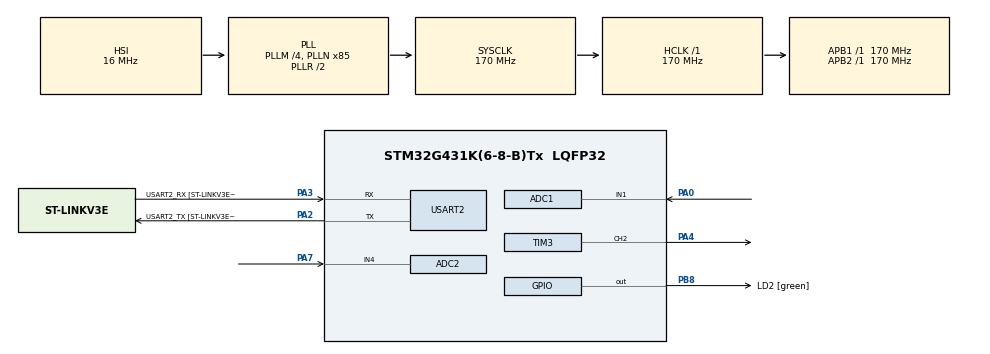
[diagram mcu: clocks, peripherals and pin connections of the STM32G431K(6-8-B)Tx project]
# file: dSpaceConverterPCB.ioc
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ADC1.Channel-0\#ChannelRegularConversion=ADC_CHANNEL_1
ADC1.ClockPrescaler=ADC_CLOCK_ASYNC_DIV2
ADC1.ContinuousConvMode=ENABLE
ADC1.DMAContinuousRequests=DISABLE
ADC1.EOCSelection=ADC_EOC_SEQ_CONV
ADC1.NbrOfConversionFlag=1
ADC1.OffsetNumber-0\#ChannelRegularConversion=ADC_OFFSET_NONE
ADC1.Overrun=ADC_OVR_DATA_OVERWRITTEN
ADC1.Rank-0\#ChannelRegularConversion=1
ADC1.SamplingTime-0\#ChannelRegularConversion=ADC_SAMPLETIME_2CYCLES_5
ADC1.master=1
ADC2.Channel-0\#ChannelRegularConversion=ADC_CHANNEL_4
ADC2.ClockPrescaler=ADC_CLOCK_ASYNC_DIV2
ADC2.ContinuousConvMode=ENABLE
ADC2.DMAContinuousRequests=DISABLE
ADC2.EOCSelection=ADC_EOC_SEQ_CONV
ADC2.NbrOfConversionFlag=1
ADC2.OffsetNumber-0\#ChannelRegularConversion=ADC_OFFSET_NONE
ADC2.Overrun=ADC_OVR_DATA_OVERWRITTEN
ADC2.Rank-0\#ChannelRegularConversion=1
ADC2.SamplingTime-0\#ChannelRegularConversion=ADC_SAMPLETIME_640CYCLES_5
Dma.ADC1.0.Direction=DMA_PERIPH_TO_MEMORY
Dma.ADC1.0.EventEnable=DISABLE
Dma.ADC1.0.Instance=DMA1_Channel1
Dma.ADC1.0.MemDataAlignment=DMA_MDATAALIGN_HALFWORD
Dma.ADC1.0.MemInc=DMA_MINC_ENABLE
Dma.ADC1.0.Mode=DMA_CIRCULAR
Dma.ADC1.0.PeriphDataAlignment=DMA_PDATAALIGN_HALFWORD
Dma.ADC1.0.PeriphInc=DMA_PINC_DISABLE
Dma.ADC1.0.Polarity=HAL_DMAMUX_REQ_GEN_RISING
Dma.ADC1.0.Priority=DMA_PRIORITY_LOW
Dma.ADC1.0.RequestNumber=1
Dma.ADC1.0.SignalID=NONE
Dma.ADC1.0.SyncEnable=DISABLE
Dma.ADC1.0.SyncPolarity=HAL_DMAMUX_SYNC_NO_EVENT
Dma.ADC1.0.SyncRequestNumber=1
Dma.ADC1.0.SyncSignalID=NONE
Dma.ADC2.1.Direction=DMA_PERIPH_TO_MEMORY
Dma.ADC2.1.EventEnable=DISABLE
Dma.ADC2.1.Instance=DMA1_Channel2
Dma.ADC2.1.MemDataAlignment=DMA_MDATAALIGN_HALFWORD
Dma.ADC2.1.MemInc=DMA_MINC_ENABLE
Dma.ADC2.1.Mode=DMA_CIRCULAR
Dma.ADC2.1.PeriphDataAlignment=DMA_PDATAALIGN_HALFWORD
Dma.ADC2.1.PeriphInc=DMA_PINC_DISABLE
Dma.ADC2.1.Polarity=HAL_DMAMUX_REQ_GEN_RISING
Dma.ADC2.1.Priority=DMA_PRIORITY_LOW
Dma.ADC2.1.RequestNumber=1
Dma.ADC2.1.SignalID=NONE
Dma.ADC2.1.SyncEnable=DISABLE
Dma.ADC2.1.SyncPolarity=HAL_DMAMUX_SYNC_NO_EVENT
Dma.ADC2.1.SyncRequestNumber=1
Dma.ADC2.1.SyncSignalID=NONE
Dma.Request0=ADC1
Dma.Request1=ADC2
Dma.Request2=USART2_TX
Dma.USART2_TX.2.Direction=DMA_MEMORY_TO_PERIPH
Dma.USART2_TX.2.EventEnable=DISABLE
Dma.USART2_TX.2.Instance=DMA1_Channel3
Dma.USART2_TX.2.MemDataAlignment=DMA_MDATAALIGN_BYTE
Dma.USART2_TX.2.MemInc=DMA_MINC_ENABLE
Dma.USART2_TX.2.Mode=DMA_NORMAL
Dma.USART2_TX.2.PeriphDataAlignment=DMA_PDATAALIGN_BYTE
Dma.USART2_TX.2.PeriphInc=DMA_PINC_DISABLE
Dma.USART2_TX.2.Polarity=HAL_DMAMUX_REQ_GEN_RISING
Dma.USART2_TX.2.Priority=DMA_PRIORITY_LOW
Dma.USART2_TX.2.RequestNumber=1
Dma.USART2_TX.2.SignalID=NONE
Dma.USART2_TX.2.SyncEnable=DISABLE
Dma.USART2_TX.2.SyncPolarity=HAL_DMAMUX_SYNC_NO_EVENT
Dma.USART2_TX.2.SyncRequestNumber=1
Dma.USART2_TX.2.SyncSignalID=NONE
Mcu.Family=STM32G4
Mcu.Name=STM32G431K(6-8-B)Tx
Mcu.Package=LQFP32
NVIC.DMA1_Channel1_IRQn=true\:0\:0\:false\:false\:true\:false\:true\:true
NVIC.DMA1_Channel2_IRQn=true\:0\:0\:false\:false\:true\:false\:true\:true
NVIC.DMA1_Channel3_IRQn=true\:0\:0\:false\:false\:true\:false\:true\:true
NVIC.PriorityGroup=NVIC_PRIORITYGROUP_4
NVIC.USART2_IRQn=true\:0\:0\:false\:false\:true\:true\:true\:true
PA0.Mode=IN1-Single-Ended
PA0.Signal=ADC1_IN1
PA13.GPIO_Label=T_SWDIO
PA13.Mode=Serial_Wire
PA13.Signal=SYS_JTMS-SWDIO
PA14.GPIO_Label=T_SWCLK
PA14.Mode=Serial_Wire
PA14.Signal=SYS_JTCK-SWCLK
PA2.GPIO_Label=USART2_TX [ST-LINKV3E_VCP_RX]
PA2.Mode=Asynchronous
PA2.Signal=USART2_TX
PA3.GPIO_Label=USART2_RX [ST-LINKV3E_VCP_TX]
PA3.Mode=Asynchronous
PA3.Signal=USART2_RX
PA4.Signal=S_TIM3_CH2
PA7.Mode=IN4-Single-Ended
PA7.Signal=ADC2_IN4
PB3.GPIO_Label=T_SWO
PB3.Signal=SYS_JTDO-SWO
PB8-BOOT0.GPIO_Label=LD2 [green]
PB8-BOOT0.Signal=GPIO_Output
ProjectManager.HeapSize=0x200
ProjectManager.StackSize=0x400
ProjectManager.TargetToolchain=STM32CubeIDE
RCC.ADC12CLockSelection=RCC_ADC12CLKSOURCE_PLL
RCC.ADC12Freq_Value=20000000
RCC.AHBFreq_Value=170000000
RCC.APB1Freq_Value=170000000
RCC.APB1TimFreq_Value=170000000
RCC.APB2Freq_Value=170000000
RCC.APB2TimFreq_Value=170000000
RCC.CortexFreq_Value=170000000
RCC.EXTERNAL_CLOCK_VALUE=12288000
RCC.HCLKFreq_Value=170000000
RCC.HSE_VALUE=8000000
RCC.HSI48_VALUE=48000000
RCC.HSI_VALUE=16000000
RCC.LSE_VALUE=32768
RCC.PLLM=RCC_PLLM_DIV4
RCC.PLLN=85
RCC.PLLP=RCC_PLLP_DIV17
RCC.SYSCLKFreq_VALUE=170000000
RCC.SYSCLKSource=RCC_SYSCLKSOURCE_PLLCLK
RCC.USBFreq_Value=170000000
RCC.VCOOutputFreq_Value=340000000
SH.S_TIM3_CH2.0=TIM3_CH2,PWM Generation2 CH2
TIM3.AutoReloadPreload=TIM_AUTORELOAD_PRELOAD_ENABLE
TIM3.Channel-PWM\ Generation2\ CH2=TIM_CHANNEL_2
TIM3.PeriodNoDither=1000
TIM3.Prescaler=84
TIM3.PulseNoDither_2=0
USART2.VirtualMode-Asynchronous=VM_ASYNC
USART2.WordLength=WORDLENGTH_8B
VP_SYS_VS_DBSignals.Mode=DisableDeadBatterySignals
VP_TIM3_VS_ClockSourceINT.Mode=Internal
board=NUCLEO-G431KB

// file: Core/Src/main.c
/* USER CODE BEGIN Header */
/**
  ******************************************************************************
  * @file           : main.c
  * @brief          : Main program body
  ******************************************************************************
  * @attention
  *
  * Copyright (c) 2024 STMicroelectronics.
  * All rights reserved.
  *
  * This software is licensed under terms that can be found in the LICENSE file
  * in the root directory of this software component.
  * If no LICENSE file comes with this software, it is provided AS-IS.
  *
  ******************************************************************************
  */
/* USER CODE END Header */
#include "main.h"
/* USER CODE BEGIN Includes */
#include "stdio.h"
#include "stdarg.h"
#include "stdint.h"
#include "string.h"
/* USER CODE END Includes */

/* USER CODE BEGIN PD */
#define PWM_COEF_UPPER_LIMIT (1020) // That is from
#define PWM_COEF_LOWER_LIMIT (980)
#define PWM_MAXIMUM_LIMIT (900.0f)
#define PWM_MAXIMUM_LIMIT_UNCONNECTED (300.0f)

#define LIMIT_CURRENT_MA (1600)
#define NOMINAL_VOLTAGE_MV (12000)
#define LOAD_RESISTANCE_OHM (4.8f)
#define MAX_POSSIBLE_CURRENT_MA (uint16_t)(NOMINAL_VOLTAGE_MV/LOAD_RESISTANCE_OHM)///(5000)
/* USER CODE END PD */

ADC_HandleTypeDef hadc1;
ADC_HandleTypeDef hadc2;
DMA_HandleTypeDef hdma_adc1;
DMA_HandleTypeDef hdma_adc2;

TIM_HandleTypeDef htim3;

UART_HandleTypeDef huart2;
DMA_HandleTypeDef hdma_usart2_tx;

/* USER CODE BEGIN PV */
uint8_t console_buffer[100] = {0};
uint8_t print_buf[100] = {0};
uint8_t console_msg_lenght = 0;

float pwm_f = 0;
uint8_t input_use = 1;
uint8_t output_on = 1;
uint8_t debug_on = 0;
uint16_t adc1_buffer[8000] = {0};
uint16_t adc2_buffer[20] = {0};
uint32_t output_current_acc;
uint32_t input_voltage_acc;
int16_t output_current_mA = 0;
int16_t input_voltage_mV = 0;
int16_t required_current_mA = 0;
uint16_t pwm = 0;
int16_t input_voltage_raw = 0;
int16_t output_current_raw = 0;
float offset = 40;
/* USER CODE END PV */

void SystemClock_Config(void);
static void MX_GPIO_Init(void);
static void MX_DMA_Init(void);
static void MX_USART2_UART_Init(void);
static void MX_ADC1_Init(void);
static void MX_ADC2_Init(void);
static void MX_TIM3_Init(void);
/* USER CODE BEGIN PFP */
void Console_Parser(uint8_t * console_buffer, uint8_t console_msg_lenght);
void print(char* fmt,...);
/* USER CODE END PFP */

int main(void)
{

  /* MCU Configuration--------------------------------------------------------*/

  /* Reset of all peripherals, Initializes the Flash interface and the Systick. */
  HAL_Init();

  /* Configure the system clock */
  SystemClock_Config();

  /* Initialize all configured peripherals */
  MX_GPIO_Init();
  MX_DMA_Init();
  MX_USART2_UART_Init();
  MX_ADC1_Init();
  MX_ADC2_Init();
  MX_TIM3_Init();
  /* USER CODE BEGIN 2 */
  HAL_TIM_PWM_Start(&htim3, TIM_CHANNEL_2);

  //Calibrate ADCs
  HAL_ADCEx_Calibration_Start(&hadc1, ADC_SINGLE_ENDED);
  HAL_ADCEx_Calibration_Start(&hadc2, ADC_SINGLE_ENDED);

  //Start ADC1 in DMA mode
  HAL_ADC_Start_DMA(&hadc1, (uint32_t*)&adc1_buffer[0], 8000);
  HAL_ADC_Start_DMA(&hadc2, (uint32_t*)&adc2_buffer[0], 20);
  HAL_UART_Receive_IT(&huart2, &console_buffer[console_msg_lenght], 1);
  print("dSpace converter 1.0\r\n");
  /* USER CODE END 2 */

  /* Infinite loop */
  /* USER CODE BEGIN WHILE */
  while (1)
  {
	  if (debug_on)
	  {
		  print("Input: %d mV, Output: %s, Req.cur: %d mA, Meas.cur.: %d mA, Set by: %s\r\n", input_voltage_mV, (output_on)? "on" : "off", required_current_mA, output_current_mA, (input_use)? "input req." : "user req.");
	  }
    /* USER CODE END WHILE */

    /* USER CODE BEGIN 3 */
	  HAL_Delay(1000);
  }
  /* USER CODE END 3 */
}

void SystemClock_Config(void)
{
  RCC_OscInitTypeDef RCC_OscInitStruct = {0};
  RCC_ClkInitTypeDef RCC_ClkInitStruct = {0};

  /** Configure the main internal regulator output voltage
  */
  HAL_PWREx_ControlVoltageScaling(PWR_REGULATOR_VOLTAGE_SCALE1_BOOST);

  /** Initializes the RCC Oscillators according to the specified parameters
  * in the RCC_OscInitTypeDef structure.
  */
  RCC_OscInitStruct.OscillatorType = RCC_OSCILLATORTYPE_HSI;
  RCC_OscInitStruct.HSIState = RCC_HSI_ON;
  RCC_OscInitStruct.HSICalibrationValue = RCC_HSICALIBRATION_DEFAULT;
  RCC_OscInitStruct.PLL.PLLState = RCC_PLL_ON;
  RCC_OscInitStruct.PLL.PLLSource = RCC_PLLSOURCE_HSI;
  RCC_OscInitStruct.PLL.PLLM = RCC_PLLM_DIV4;
  RCC_OscInitStruct.PLL.PLLN = 85;
  RCC_OscInitStruct.PLL.PLLP = RCC_PLLP_DIV17;
  RCC_OscInitStruct.PLL.PLLQ = RCC_PLLQ_DIV2;
  RCC_OscInitStruct.PLL.PLLR = RCC_PLLR_DIV2;
  if (HAL_RCC_OscConfig(&RCC_OscInitStruct) != HAL_OK)
  {
    Error_Handler();
  }

  /** Initializes the CPU, AHB and APB buses clocks
  */
  RCC_ClkInitStruct.ClockType = RCC_CLOCKTYPE_HCLK|RCC_CLOCKTYPE_SYSCLK
                              |RCC_CLOCKTYPE_PCLK1|RCC_CLOCKTYPE_PCLK2;
  RCC_ClkInitStruct.SYSCLKSource = RCC_SYSCLKSOURCE_PLLCLK;
  RCC_ClkInitStruct.AHBCLKDivider = RCC_SYSCLK_DIV1;
  RCC_ClkInitStruct.APB1CLKDivider = RCC_HCLK_DIV1;
  RCC_ClkInitStruct.APB2CLKDivider = RCC_HCLK_DIV1;

  if (HAL_RCC_ClockConfig(&RCC_ClkInitStruct, FLASH_LATENCY_4) != HAL_OK)
  {
    Error_Handler();
  }
}

static void MX_ADC1_Init(void)
{

  ADC_MultiModeTypeDef multimode = {0};
  ADC_ChannelConfTypeDef sConfig = {0};

  /** Common config
  */
  hadc1.Instance = ADC1;
  hadc1.Init.ClockPrescaler = ADC_CLOCK_ASYNC_DIV2;
  hadc1.Init.Resolution = ADC_RESOLUTION_12B;
  hadc1.Init.DataAlign = ADC_DATAALIGN_RIGHT;
  hadc1.Init.GainCompensation = 0;
  hadc1.Init.ScanConvMode = ADC_SCAN_DISABLE;
  hadc1.Init.EOCSelection = ADC_EOC_SEQ_CONV;
  hadc1.Init.LowPowerAutoWait = DISABLE;
  hadc1.Init.ContinuousConvMode = ENABLE;
  hadc1.Init.NbrOfConversion = 1;
  hadc1.Init.DiscontinuousConvMode = DISABLE;
  hadc1.Init.ExternalTrigConv = ADC_SOFTWARE_START;
  hadc1.Init.ExternalTrigConvEdge = ADC_EXTERNALTRIGCONVEDGE_NONE;
  hadc1.Init.DMAContinuousRequests = DISABLE;
  hadc1.Init.Overrun = ADC_OVR_DATA_OVERWRITTEN;
  hadc1.Init.OversamplingMode = DISABLE;
  if (HAL_ADC_Init(&hadc1) != HAL_OK)
  {
    Error_Handler();
  }

  /** Configure the ADC multi-mode
  */
  multimode.Mode = ADC_MODE_INDEPENDENT;
  if (HAL_ADCEx_MultiModeConfigChannel(&hadc1, &multimode) != HAL_OK)
  {
    Error_Handler();
  }

  /** Configure Regular Channel
  */
  sConfig.Channel = ADC_CHANNEL_1;
  sConfig.Rank = ADC_REGULAR_RANK_1;
  sConfig.SamplingTime = ADC_SAMPLETIME_2CYCLES_5;
  sConfig.SingleDiff = ADC_SINGLE_ENDED;
  sConfig.OffsetNumber = ADC_OFFSET_NONE;
  sConfig.Offset = 0;
  if (HAL_ADC_ConfigChannel(&hadc1, &sConfig) != HAL_OK)
  {
    Error_Handler();
  }

}

static void MX_ADC2_Init(void)
{

  ADC_ChannelConfTypeDef sConfig = {0};

  /** Common config
  */
  hadc2.Instance = ADC2;
  hadc2.Init.ClockPrescaler = ADC_CLOCK_ASYNC_DIV2;
  hadc2.Init.Resolution = ADC_RESOLUTION_12B;
  hadc2.Init.DataAlign = ADC_DATAALIGN_RIGHT;
  hadc2.Init.GainCompensation = 0;
  hadc2.Init.ScanConvMode = ADC_SCAN_DISABLE;
  hadc2.Init.EOCSelection = ADC_EOC_SEQ_CONV;
  hadc2.Init.LowPowerAutoWait = DISABLE;
  hadc2.Init.ContinuousConvMode = ENABLE;
  hadc2.Init.NbrOfConversion = 1;
  hadc2.Init.DiscontinuousConvMode = DISABLE;
  hadc2.Init.ExternalTrigConv = ADC_SOFTWARE_START;
  hadc2.Init.ExternalTrigConvEdge = ADC_EXTERNALTRIGCONVEDGE_NONE;
  hadc2.Init.DMAContinuousRequests = DISABLE;
  hadc2.Init.Overrun = ADC_OVR_DATA_OVERWRITTEN;
  hadc2.Init.OversamplingMode = DISABLE;
  if (HAL_ADC_Init(&hadc2) != HAL_OK)
  {
    Error_Handler();
  }

  /** Configure Regular Channel
  */
  sConfig.Channel = ADC_CHANNEL_4;
  sConfig.Rank = ADC_REGULAR_RANK_1;
  sConfig.SamplingTime = ADC_SAMPLETIME_640CYCLES_5;
  sConfig.SingleDiff = ADC_SINGLE_ENDED;
  sConfig.OffsetNumber = ADC_OFFSET_NONE;
  sConfig.Offset = 0;
  if (HAL_ADC_ConfigChannel(&hadc2, &sConfig) != HAL_OK)
  {
    Error_Handler();
  }

}

static void MX_TIM3_Init(void)
{

  TIM_ClockConfigTypeDef sClockSourceConfig = {0};
  TIM_MasterConfigTypeDef sMasterConfig = {0};
  TIM_OC_InitTypeDef sConfigOC = {0};

  htim3.Instance = TIM3;
  htim3.Init.Prescaler = 84;
  htim3.Init.CounterMode = TIM_COUNTERMODE_UP;
  htim3.Init.Period = 1000;
  htim3.Init.ClockDivision = TIM_CLOCKDIVISION_DIV1;
  htim3.Init.AutoReloadPreload = TIM_AUTORELOAD_PRELOAD_ENABLE;
  if (HAL_TIM_Base_Init(&htim3) != HAL_OK)
  {
    Error_Handler();
  }
  sClockSourceConfig.ClockSource = TIM_CLOCKSOURCE_INTERNAL;
  if (HAL_TIM_ConfigClockSource(&htim3, &sClockSourceConfig) != HAL_OK)
  {
    Error_Handler();
  }
  if (HAL_TIM_PWM_Init(&htim3) != HAL_OK)
  {
    Error_Handler();
  }
  sMasterConfig.MasterOutputTrigger = TIM_TRGO_RESET;
  sMasterConfig.MasterSlaveMode = TIM_MASTERSLAVEMODE_DISABLE;
  if (HAL_TIMEx_MasterConfigSynchronization(&htim3, &sMasterConfig) != HAL_OK)
  {
    Error_Handler();
  }
  sConfigOC.OCMode = TIM_OCMODE_PWM1;
  sConfigOC.Pulse = 0;
  sConfigOC.OCPolarity = TIM_OCPOLARITY_HIGH;
  sConfigOC.OCFastMode = TIM_OCFAST_DISABLE;
  if (HAL_TIM_PWM_ConfigChannel(&htim3, &sConfigOC, TIM_CHANNEL_2) != HAL_OK)
  {
    Error_Handler();
  }
  HAL_TIM_MspPostInit(&htim3);

}

static void MX_USART2_UART_Init(void)
{

  huart2.Instance = USART2;
  huart2.Init.BaudRate = 115200;
  huart2.Init.WordLength = UART_WORDLENGTH_8B;
  huart2.Init.StopBits = UART_STOPBITS_1;
  huart2.Init.Parity = UART_PARITY_NONE;
  huart2.Init.Mode = UART_MODE_TX_RX;
  huart2.Init.HwFlowCtl = UART_HWCONTROL_NONE;
  huart2.Init.OverSampling = UART_OVERSAMPLING_16;
  huart2.Init.OneBitSampling = UART_ONE_BIT_SAMPLE_DISABLE;
  huart2.Init.ClockPrescaler = UART_PRESCALER_DIV1;
  huart2.AdvancedInit.AdvFeatureInit = UART_ADVFEATURE_NO_INIT;
  if (HAL_UART_Init(&huart2) != HAL_OK)
  {
    Error_Handler();
  }
  if (HAL_UARTEx_SetTxFifoThreshold(&huart2, UART_TXFIFO_THRESHOLD_1_8) != HAL_OK)
  {
    Error_Handler();
  }
  if (HAL_UARTEx_SetRxFifoThreshold(&huart2, UART_RXFIFO_THRESHOLD_1_8) != HAL_OK)
  {
    Error_Handler();
  }
  if (HAL_UARTEx_DisableFifoMode(&huart2) != HAL_OK)
  {
    Error_Handler();
  }

}

static void MX_DMA_Init(void)
{

  /* DMA controller clock enable */
  __HAL_RCC_DMAMUX1_CLK_ENABLE();
  __HAL_RCC_DMA1_CLK_ENABLE();

  /* DMA interrupt init */
  /* DMA1_Channel1_IRQn interrupt configuration */
  HAL_NVIC_SetPriority(DMA1_Channel1_IRQn, 0, 0);
  HAL_NVIC_EnableIRQ(DMA1_Channel1_IRQn);
  /* DMA1_Channel2_IRQn interrupt configuration */
  HAL_NVIC_SetPriority(DMA1_Channel2_IRQn, 0, 0);
  HAL_NVIC_EnableIRQ(DMA1_Channel2_IRQn);
  /* DMA1_Channel3_IRQn interrupt configuration */
  HAL_NVIC_SetPriority(DMA1_Channel3_IRQn, 0, 0);
  HAL_NVIC_EnableIRQ(DMA1_Channel3_IRQn);

}

static void MX_GPIO_Init(void)
{
  GPIO_InitTypeDef GPIO_InitStruct = {0};

  /* GPIO Ports Clock Enable */
  __HAL_RCC_GPIOA_CLK_ENABLE();
  __HAL_RCC_GPIOB_CLK_ENABLE();

  /*Configure GPIO pin Output Level */
  HAL_GPIO_WritePin(LD2_GPIO_Port, LD2_Pin, GPIO_PIN_RESET);

  /*Configure GPIO pin : LD2_Pin */
  GPIO_InitStruct.Pin = LD2_Pin;
  GPIO_InitStruct.Mode = GPIO_MODE_OUTPUT_PP;
  GPIO_InitStruct.Pull = GPIO_NOPULL;
  GPIO_InitStruct.Speed = GPIO_SPEED_FREQ_LOW;
  HAL_GPIO_Init(LD2_GPIO_Port, &GPIO_InitStruct);

}

/* USER CODE BEGIN 4 */
void HAL_ADC_ConvCpltCallback(ADC_HandleTypeDef* hadc)
{
	if (hadc->Instance == ADC1)
	{
		uint16_t i = 0;
		output_current_acc = 0;
		for (i = 0; i < 8000; i++)
		{
			output_current_acc += adc1_buffer[i];
		}
		output_current_raw = (int16_t)(((float)output_current_acc)/8000.0f - offset);
		if ((required_current_mA == 0)&&(pwm == 0))
		{
			offset += output_current_raw/20.0f;
			if (offset < 0.0f)
			{
				offset = 0.0f;
			}
			else if (offset > 50.0f) offset = 50.0f;
		}
		if (output_current_raw < 0) output_current_raw = 0;
		output_current_mA = output_current_raw * 0.809f / 50 / 0.01;
		HAL_ADC_Start_DMA(&hadc1, (uint32_t*)&adc1_buffer[0], 8000);

		int16_t current_error = output_current_mA - required_current_mA;
		float error_correction = ((float)current_error) / 5.0f;
		if (error_correction > 240.0f)
		{
			error_correction = 240.0f;
		}
		else if (error_correction < -240.0f)
		{
			error_correction = -240.0f;
		}
		if (error_correction > 1.0f)
		{
			HAL_GPIO_WritePin(LD2_GPIO_Port, LD2_Pin, GPIO_PIN_SET);
		}
		else if (error_correction < -1.0f)
		{
			HAL_GPIO_WritePin(LD2_GPIO_Port, LD2_Pin, GPIO_PIN_SET);
		}
		else
		{
			HAL_GPIO_WritePin(LD2_GPIO_Port, LD2_Pin, GPIO_PIN_RESET);
		}
		pwm_f -= error_correction;
		if (pwm_f < 0.0f) pwm_f = 0.0f;
		if (pwm_f > PWM_MAXIMUM_LIMIT) pwm_f = PWM_MAXIMUM_LIMIT;
		if ((output_current_raw < 50)&&(pwm_f > PWM_MAXIMUM_LIMIT_UNCONNECTED)) pwm_f = PWM_MAXIMUM_LIMIT_UNCONNECTED;
		if (required_current_mA == 0)
		{
			pwm_f = 0.0f;
		}
		pwm = (uint16_t)pwm_f;
		if (output_on) TIM3->CCR2 = pwm;
		else TIM3->CCR2 = 0;
	}
	else if (hadc->Instance == ADC2)
	{
		uint16_t i = 0;
		input_voltage_acc = 0;
		for (i = 0; i < 20; i++)
		{
			input_voltage_acc += adc2_buffer[i];
		}
		input_voltage_raw = input_voltage_acc/20 - 8;
		if (input_voltage_raw < 0) input_voltage_raw = 0;
		input_voltage_mV = (uint16_t)(input_voltage_raw * 0.8056f * 3.44f);
		HAL_ADC_Start_DMA(&hadc2, (uint32_t*)&adc2_buffer[0], 20);

		uint16_t required_current_mA_internal = (uint16_t)((LIMIT_CURRENT_MA * input_voltage_mV) / 10000);
		if (required_current_mA_internal > LIMIT_CURRENT_MA) required_current_mA_internal = LIMIT_CURRENT_MA;
		// Just for testing
		if (input_use) required_current_mA = required_current_mA_internal;
	}
	return;
}

void print(char* fmt,...)
{
	va_list args;
	va_start(args, fmt);
	int len = vsnprintf((char*)print_buf, 100, fmt, args);
	va_end(args);
	HAL_UART_Transmit(&huart2, (uint8_t*)print_buf, len, 1000);
}

void HAL_UART_RxCpltCallback(UART_HandleTypeDef *huart)
{
	if(huart->Instance == USART2)
	{
		if ((console_buffer[console_msg_lenght] == 13) || (console_buffer[console_msg_lenght] == 10))
		{
			print("\r\n");
			console_buffer[console_msg_lenght] = 0;
			Console_Parser(&console_buffer[0], console_msg_lenght);
			console_msg_lenght = 0;
			HAL_UART_Receive_IT(&huart2, &console_buffer[console_msg_lenght], 1);
		}
		else if (console_buffer[console_msg_lenght] == 8)
		{
			print("\b \b");
			console_buffer[console_msg_lenght] = 0;
			if (console_msg_lenght > 0) console_msg_lenght--;
			HAL_UART_Receive_IT(&huart2, &console_buffer[console_msg_lenght], 1);
		}
		else
		{
			HAL_UART_Transmit(&huart2, &console_buffer[console_msg_lenght], 1, 10);
			if (console_msg_lenght < 100) console_msg_lenght++;
			else console_msg_lenght = 0;
			HAL_UART_Receive_IT(&huart2, &console_buffer[console_msg_lenght], 1);
		}
	}
}

void Console_Parser(uint8_t * console_buffer, uint8_t console_msg_lenght)
{
	if (strncmp((char*)console_buffer, "on", 2) == 0)
	{
		print("Output on\r\n");
		output_on = 1;
	}
	else if (strncmp((char*)console_buffer, "off", 3) == 0)
	{
		print("Output off\r\n");
		output_on = 0;
	}
	else if (strncmp((char*)console_buffer, "reset", 5) == 0)
	{
		print("Reseting\r\n");
		HAL_NVIC_SystemReset();
	}
	else if (strncmp((char*)console_buffer, "set", 3) == 0)
	{
		int current = 0;
		if (sscanf ((char*)console_buffer, "set %d", &current) == 1)
		{
			if ((current >= 0)&&(current < LIMIT_CURRENT_MA))
			{
				input_use = 0;
				required_current_mA = current;
				print("Set requested current to %d mA. Auto off. \r\n", required_current_mA);
			}
			else
			{
				print("Out of range, please input between 0 and %d\r\n", LIMIT_CURRENT_MA);
			}
		}
		else
		{
			print("Syntax error. Expected format \"set <current_ma>\"\r\n");
		}
	}
	else if (strncmp((char*)console_buffer, "get", 3) == 0)
	{
		print("Req.cur: %d mA, Meas.cur.: %d mA\r\n", required_current_mA, output_current_mA);
	}
	else if (strncmp((char*)console_buffer, "info", 4) == 0)
	{
		print("Input: %d mV, Output: %s, Req.cur: %d mA, Meas.cur.: %d mA, Set by: %s\r\n", input_voltage_mV, (output_on)? "on" : "off", required_current_mA, output_current_mA, (input_use)? "input req." : "user req.");
	}
	else if (strncmp((char*)console_buffer, "auto", 4) == 0)
	{
		print("Auto mode enabled\r\n");
		input_use = 1;
		output_on = 1;
	}
	else if (strncmp((char*)console_buffer, "debug on", 8) == 0)
	{
		print("Debug print on\r\n");
		debug_on = 1;
	}
	else if (strncmp((char*)console_buffer, "debug off", 9) == 0)
	{
		print("Debug print off\r\n");
		debug_on = 0;
	}
	else if (strncmp((char*)console_buffer, "help", 4) == 0)
	{
		print("Commands list:\r\n");
		print(" help - prints command list with explanations\r\n");
		print(" on   - enables output (default is on)\r\n");
		print(" off  - disables output \r\n");
		print(" set <current_ma> - sets current in limits from 0 to %d\r\n", LIMIT_CURRENT_MA);
		print(" get - prints requested and measured currents\r\n");
		print(" info - prints all current settings and measurements\r\n");
		print(" auto - returns to automatic output control by input\r\n");
		print(" reset - resets the converter box\r\n");
		print(" debug <on/off> - turn on/off periodic debug info print\r\n");
	}
}
/* USER CODE END 4 */

void Error_Handler(void)
{
  __disable_irq();
  while (1)
  {
  }
}
